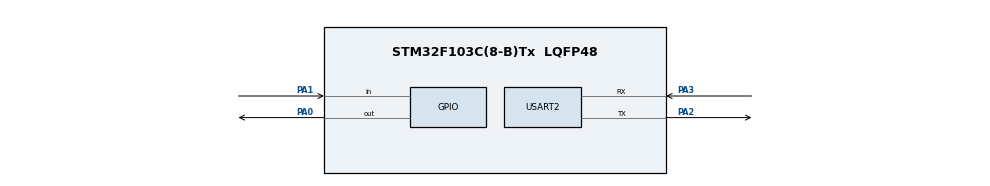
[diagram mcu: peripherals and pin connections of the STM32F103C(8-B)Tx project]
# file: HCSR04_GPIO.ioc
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Mcu.Family=STM32F1
Mcu.Name=STM32F103C(8-B)Tx
Mcu.Package=LQFP48
NVIC.PriorityGroup=NVIC_PRIORITYGROUP_4
PA0-WKUP.Signal=GPIO_Output
PA1.Signal=GPIO_Input
PA2.Mode=Asynchronous
PA2.Signal=USART2_TX
PA3.Mode=Asynchronous
PA3.Signal=USART2_RX
ProjectManager.HeapSize=0x200
ProjectManager.StackSize=0x400
ProjectManager.TargetToolchain=STM32CubeIDE
RCC.APB1Freq_Value=8000000
RCC.APB2Freq_Value=8000000
TIM1.Prescaler=71
USART2.VirtualMode=VM_ASYNC
VP_SYS_VS_ND.Mode=No_Debug
VP_TIM1_VS_ClockSourceINT.Mode=Internal
board=custom

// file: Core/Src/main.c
/* USER CODE BEGIN Header */
/**
  ******************************************************************************
  * @file           : main.c
  * @brief          : Main program body
  ******************************************************************************
  * @attention
  *
  * Copyright (c) 2026 STMicroelectronics.
  * All rights reserved.
  *
  * This software is licensed under terms that can be found in the LICENSE file
  * in the root directory of this software component.
  * If no LICENSE file comes with this software, it is provided AS-IS.
  *
  ******************************************************************************
  */
/* USER CODE END Header */
#include "main.h"

/* USER CODE BEGIN Includes */
#include "string.h"
#include "stdio.h"
/* USER CODE END Includes */

TIM_HandleTypeDef htim1;

UART_HandleTypeDef huart2;

/* USER CODE BEGIN PV */
static char buf[64];
/* USER CODE END PV */

void SystemClock_Config(void);
static void MX_GPIO_Init(void);
static void MX_USART2_UART_Init(void);
static void MX_TIM1_Init(void);

int main(void)
{

  /* MCU Configuration--------------------------------------------------------*/

  /* Reset of all peripherals, Initializes the Flash interface and the Systick. */
  HAL_Init();

  /* Configure the system clock */
  SystemClock_Config();

  /* Initialize all configured peripherals */
  MX_GPIO_Init();
  MX_USART2_UART_Init();
  MX_TIM1_Init();
  /* USER CODE BEGIN 2 */
  HAL_TIM_Base_Start(&htim1);
  /* USER CODE END 2 */

  /* Infinite loop */
  /* USER CODE BEGIN WHILE */
  while (1)
  {
	HAL_GPIO_WritePin(GPIOA, GPIO_PIN_0,GPIO_PIN_SET);
	for(uint32_t i=0;i<10;i++);
	HAL_GPIO_WritePin(GPIOA, GPIO_PIN_0,GPIO_PIN_RESET);
	uint32_t start = 0, end = 0;
	while (HAL_GPIO_ReadPin(GPIOA,GPIO_PIN_1) == 0);
	__HAL_TIM_SET_COUNTER(&htim1,0);
	start = __HAL_TIM_GET_COUNTER(&htim1);
	while (HAL_GPIO_ReadPin(GPIOA,GPIO_PIN_1) == 1);
	end = __HAL_TIM_GET_COUNTER(&htim1);
	float distance = (end-start)*1e-3*170;
	sprintf(buf, "distance: %.2f\n", distance);

	HAL_UART_Transmit(&huart2, buf, strlen(buf), HAL_MAX_DELAY);

	HAL_Delay(1000);
    /* USER CODE END WHILE */

  }
}

void SystemClock_Config(void)
{
  RCC_OscInitTypeDef RCC_OscInitStruct = {0};
  RCC_ClkInitTypeDef RCC_ClkInitStruct = {0};

  /** Initializes the RCC Oscillators according to the specified parameters
  * in the RCC_OscInitTypeDef structure.
  */
  RCC_OscInitStruct.OscillatorType = RCC_OSCILLATORTYPE_HSI;
  RCC_OscInitStruct.HSIState = RCC_HSI_ON;
  RCC_OscInitStruct.HSICalibrationValue = RCC_HSICALIBRATION_DEFAULT;
  RCC_OscInitStruct.PLL.PLLState = RCC_PLL_NONE;
  if (HAL_RCC_OscConfig(&RCC_OscInitStruct) != HAL_OK)
  {
    Error_Handler();
  }

  /** Initializes the CPU, AHB and APB buses clocks
  */
  RCC_ClkInitStruct.ClockType = RCC_CLOCKTYPE_HCLK|RCC_CLOCKTYPE_SYSCLK
                              |RCC_CLOCKTYPE_PCLK1|RCC_CLOCKTYPE_PCLK2;
  RCC_ClkInitStruct.SYSCLKSource = RCC_SYSCLKSOURCE_HSI;
  RCC_ClkInitStruct.AHBCLKDivider = RCC_SYSCLK_DIV1;
  RCC_ClkInitStruct.APB1CLKDivider = RCC_HCLK_DIV1;
  RCC_ClkInitStruct.APB2CLKDivider = RCC_HCLK_DIV1;

  if (HAL_RCC_ClockConfig(&RCC_ClkInitStruct, FLASH_LATENCY_0) != HAL_OK)
  {
    Error_Handler();
  }
}

static void MX_TIM1_Init(void)
{

  TIM_ClockConfigTypeDef sClockSourceConfig = {0};
  TIM_MasterConfigTypeDef sMasterConfig = {0};

  htim1.Instance = TIM1;
  htim1.Init.Prescaler = 71;
  htim1.Init.CounterMode = TIM_COUNTERMODE_UP;
  htim1.Init.Period = 65535;
  htim1.Init.ClockDivision = TIM_CLOCKDIVISION_DIV1;
  htim1.Init.RepetitionCounter = 0;
  htim1.Init.AutoReloadPreload = TIM_AUTORELOAD_PRELOAD_DISABLE;
  if (HAL_TIM_Base_Init(&htim1) != HAL_OK)
  {
    Error_Handler();
  }
  sClockSourceConfig.ClockSource = TIM_CLOCKSOURCE_INTERNAL;
  if (HAL_TIM_ConfigClockSource(&htim1, &sClockSourceConfig) != HAL_OK)
  {
    Error_Handler();
  }
  sMasterConfig.MasterOutputTrigger = TIM_TRGO_RESET;
  sMasterConfig.MasterSlaveMode = TIM_MASTERSLAVEMODE_DISABLE;
  if (HAL_TIMEx_MasterConfigSynchronization(&htim1, &sMasterConfig) != HAL_OK)
  {
    Error_Handler();
  }

}

static void MX_USART2_UART_Init(void)
{

  huart2.Instance = USART2;
  huart2.Init.BaudRate = 115200;
  huart2.Init.WordLength = UART_WORDLENGTH_8B;
  huart2.Init.StopBits = UART_STOPBITS_1;
  huart2.Init.Parity = UART_PARITY_NONE;
  huart2.Init.Mode = UART_MODE_TX_RX;
  huart2.Init.HwFlowCtl = UART_HWCONTROL_NONE;
  huart2.Init.OverSampling = UART_OVERSAMPLING_16;
  if (HAL_UART_Init(&huart2) != HAL_OK)
  {
    Error_Handler();
  }

}

static void MX_GPIO_Init(void)
{
  GPIO_InitTypeDef GPIO_InitStruct = {0};

  /* GPIO Ports Clock Enable */
  __HAL_RCC_GPIOA_CLK_ENABLE();

  /*Configure GPIO pin Output Level */
  HAL_GPIO_WritePin(GPIOA, GPIO_PIN_0, GPIO_PIN_RESET);

  /*Configure GPIO pin : PA0 */
  GPIO_InitStruct.Pin = GPIO_PIN_0;
  GPIO_InitStruct.Mode = GPIO_MODE_OUTPUT_PP;
  GPIO_InitStruct.Pull = GPIO_NOPULL;
  GPIO_InitStruct.Speed = GPIO_SPEED_FREQ_LOW;
  HAL_GPIO_Init(GPIOA, &GPIO_InitStruct);

  /*Configure GPIO pin : PA1 */
  GPIO_InitStruct.Pin = GPIO_PIN_1;
  GPIO_InitStruct.Mode = GPIO_MODE_INPUT;
  GPIO_InitStruct.Pull = GPIO_NOPULL;
  HAL_GPIO_Init(GPIOA, &GPIO_InitStruct);

}

void Error_Handler(void)
{
  __disable_irq();
  while (1)
  {
  }
}
